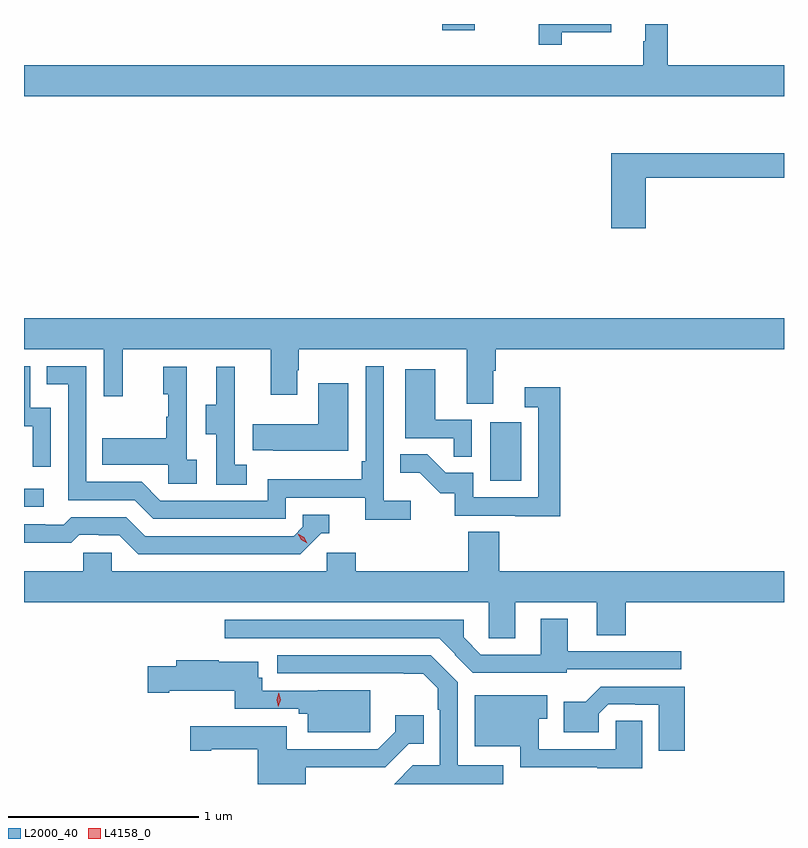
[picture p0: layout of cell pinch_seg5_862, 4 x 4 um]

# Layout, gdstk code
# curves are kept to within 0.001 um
import gdstk
lib = gdstk.Library(unit=1e-6, precision=1e-09)
def R(c, l, rs):  # rectangles x0, y0, x1, y1
    for r in rs: c.add(gdstk.rectangle(r[:2], r[2:], *l))
def P(c, l, *ps):  # polygons
    for p in ps: c.add(gdstk.Polygon(p, *l))
L2000_40 = (2000, 40)
L4158_0 = (4158, 0)

pinch_seg5_862 = lib.new_cell('pinch_seg5_862')
R(pinch_seg5_862, L2000_40, [(826.244,885.234,826.348,885.33), (828.698,885.372,828.862,885.679), (828.446,887.742,828.616,887.776)])
P(pinch_seg5_862, L2000_40, [(829.075,887.732),(829.336,887.732),(829.336,887.776),(828.954,887.776),(828.954,887.667),(829.075,887.667)],
  [(830.244,887.56),(829.631,887.56),(829.631,887.776),(829.514,887.776),(829.514,887.684),(829.503,887.684),(829.503,887.56),(826.244,887.56),(826.244,887.396),(830.244,887.396)],
  [(829.517,886.966),(830.244,886.966),(830.244,887.095),(829.334,887.095),(829.334,886.701),(829.517,886.701)],
  [(828.715,885.952),(828.728,885.952),(828.728,886.064),(830.244,886.064),(830.244,886.228),(826.244,886.228),(826.244,886.064),(826.665,886.064),(826.665,885.816),(826.763,885.816),(826.763,886.064),(827.543,886.064),(827.543,885.825),(827.683,885.825),(827.683,885.953),(827.691,885.953),(827.691,886.064),(828.575,886.064),(828.575,885.778),(828.715,885.778)],
  [(828.28,885.268),(828.138,885.268),(828.138,885.976),(828.042,885.976),(828.042,885.475),(828.022,885.475),(828.022,885.379),(827.526,885.379),(827.526,885.267),(826.962,885.267),(826.863,885.366),(826.572,885.366),(826.572,885.975),(826.363,885.975),(826.363,885.879),(826.476,885.879),(826.476,885.27),(826.826,885.27),(826.925,885.171),(827.622,885.171),(827.622,885.282),(828.041,885.282),(828.041,885.166),(828.28,885.166)],
  [(826.386,885.756),(826.278,885.756),(826.278,885.975),(826.244,885.975),(826.244,885.659),(826.29,885.659),(826.29,885.447),(826.386,885.447)],
  [(827.416,885.455),(827.352,885.455),(827.352,885.759),(827.354,885.759),(827.354,885.973),(827.255,885.973),(827.255,885.771),(827.201,885.771),(827.201,885.616),(827.256,885.616),(827.256,885.352),(827.416,885.352)],
  [(827.152,885.482),(827.1,885.482),(827.1,885.973),(826.976,885.973),(826.976,885.828),(827.002,885.828),(827.002,885.71),(826.992,885.71),(826.992,885.595),(826.657,885.595),(826.657,885.455),(827.004,885.455),(827.004,885.357),(827.152,885.357)],
  [(828.6,885.693),(828.409,885.693),(828.409,885.958),(828.251,885.958),(828.251,885.597),(828.505,885.597),(828.505,885.499),(828.6,885.499)],
  [(827.95,885.886),(827.792,885.886),(827.792,885.67),(827.449,885.67),(827.449,885.533),(827.557,885.533),(827.557,885.53),(827.95,885.53)],
  [(829.067,885.865),(828.879,885.865),(828.879,885.759),(828.951,885.759),(828.951,885.285),(828.609,885.285),(828.609,885.414),(828.465,885.414),(828.367,885.512),(828.223,885.512),(828.223,885.413),(828.327,885.413),(828.434,885.306),(828.511,885.306),(828.511,885.189),(828.829,885.189),(828.829,885.184),(829.067,885.184)],
  [(827.808,885.096),(827.851,885.096),(827.851,885.192),(827.712,885.192),(827.712,885.129),(827.664,885.081),(826.881,885.081),(826.782,885.18),(826.493,885.18),(826.454,885.141),(826.355,885.141),(826.355,885.144),(826.244,885.144),(826.244,885.047),(826.26,885.047),(826.26,885.045),(826.493,885.045),(826.535,885.087),(826.638,885.087),(826.638,885.084),(826.745,885.084),(826.844,884.985),(827.697,884.985)],
  [(828.829,884.732),(829.259,884.732),(829.259,884.56),(829.412,884.56),(829.412,884.732),(830.244,884.732),(830.244,884.896),(828.746,884.896),(828.746,885.104),(828.581,885.104),(828.581,884.896),(827.99,884.896),(827.99,884.994),(827.838,884.994),(827.838,884.896),(826.707,884.896),(826.707,884.994),(826.557,884.994),(826.557,884.896),(826.244,884.896),(826.244,884.732),(828.69,884.732),(828.69,884.542),(828.829,884.542)],
  [(829.101,884.379),(829.702,884.379),(829.702,884.475),(829.105,884.475),(829.105,884.647),(828.965,884.647),(828.965,884.457),(828.648,884.457),(828.558,884.548),(828.558,884.64),(827.301,884.64),(827.301,884.544),(828.429,884.544),(828.514,884.459),(828.511,884.456),(828.606,884.361),(829.101,884.361)],
  [(828.766,883.876),(828.528,883.876),(828.528,884.311),(828.385,884.454),(827.577,884.454),(827.577,884.359),(828.242,884.358),(828.242,884.356),(828.346,884.356),(828.422,884.28),(828.422,884.168),(828.432,884.168),(828.432,883.875),(828.291,883.875),(828.192,883.776),(828.766,883.776)],
  [(828.067,884.269),(827.791,884.269),(827.791,884.268),(827.499,884.268),(827.499,884.334),(827.476,884.334),(827.476,884.419),(827.27,884.419),(827.27,884.427),(827.045,884.427),(827.045,884.397),(826.896,884.397),(826.896,884.255),(827.008,884.255),(827.008,884.267),(827.354,884.267),(827.354,884.172),(827.691,884.172),(827.691,884.147),(827.738,884.147),(827.738,884.048),(828.067,884.048)],
  [(829.721,884.289),(829.28,884.289),(829.2,884.209),(829.084,884.209),(829.084,884.048),(829.27,884.048),(829.27,884.146),(829.32,884.196),(829.462,884.196),(829.462,884.193),(829.586,884.193),(829.586,883.95),(829.721,883.95)],
  [(829.498,884.108),(829.359,884.108),(829.359,883.959),(828.952,883.959),(828.952,884.12),(828.999,884.12),(828.999,884.242),(828.617,884.242),(828.617,883.976),(828.855,883.976),(828.855,883.863),(829.262,883.863),(829.262,883.858),(829.498,883.858)],
  [(827.728,883.863),(828.145,883.863),(828.27,883.988),(828.347,883.988),(828.347,884.137),(828.197,884.137),(828.197,884.051),(828.105,883.959),(827.626,883.959),(827.626,884.08),(827.118,884.08),(827.118,883.951),(827.23,883.951),(827.23,883.958),(827.474,883.958),(827.474,883.776),(827.728,883.776)])
P(pinch_seg5_862, L4158_0, [(827.734,885.042),(827.703,885.061),(827.686,885.093),(827.686,885.094),(827.686,885.094),(827.718,885.075),(827.734,885.042),(827.734,885.042)],
  [(827.583,884.183),(827.583,884.183),(827.574,884.219),(827.584,884.255),(827.584,884.255),(827.585,884.255),(827.594,884.219),(827.583,884.183)])

lib.write_gds('pinch_seg5_862.gds')
